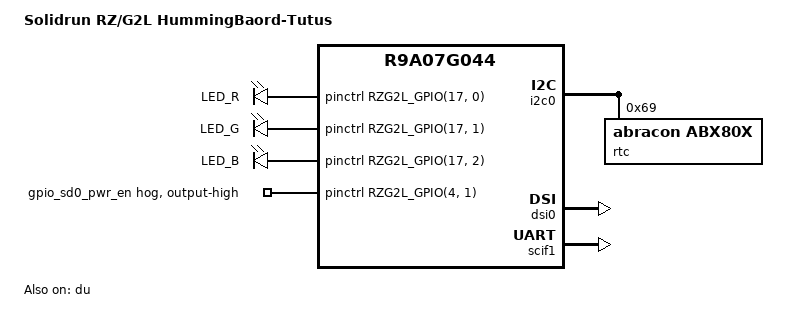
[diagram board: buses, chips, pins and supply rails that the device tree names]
// SPDX-License-Identifier: (GPL-2.0-only OR BSD-2-Clause)
/*
 * Device Tree Source for the RZ/G2LC Solidrun SOM
 *
 * Copyright (C) 2021 Renesas Electronics Corp.
 */

#include <dt-bindings/gpio/gpio.h>
#include <dt-bindings/pinctrl/rzg2l-pinctrl.h>

/*
 * DIP-Switch S3 setting on SoM
 * 1 : High; 0: Low
 * S3[1] : SW_SD0_DEV_SEL	(1: eMMC; 0: uSD)
 */

#define SW_SD0_DEV_SEL	1

/dts-v1/;
#include "rzg2l-sr-som.dtsi"
#include "rzg2l-sr-pinfunction.dtsi"

/ {
	model = "Solidrun RZ/G2L HummingBaord-Tutus";
	compatible = "renesas,r9a07g044l2", "renesas,r9a07g044";

	x1_clk: x1-clock {
		compatible = "fixed-clock";
		#clock-cells = <0>;
		clock-frequency = <24000000>;
	};

	leds {
		compatible = "gpio-leds";

		LED-R-hog {
			label = "LED_R";
			gpios = <&pinctrl RZG2L_GPIO(17, 0) GPIO_ACTIVE_HIGH>;
			default-state = "on";      
		};

		LED-G-hog {
			label = "LED_G";
			gpios = <&pinctrl RZG2L_GPIO(17, 1) GPIO_ACTIVE_HIGH>;
			default-state = "off";
		};

		LED-B-hog {
			label = "LED_B";
			gpios = <&pinctrl RZG2L_GPIO(17, 2) GPIO_ACTIVE_HIGH>;
			default-state = "off";
		};
	};

};

&pinctrl {
	gpio-sd0-pwr-en-hog {
		gpio-hog;
		gpios = <RZG2L_GPIO(4, 1) GPIO_ACTIVE_HIGH>;
		output-high;
		line-name = "gpio_sd0_pwr_en";
	};
};

&i2c0 {
	rtc@69 {
		compatible = "abracon,abx80x";
		reg = <0x69>;
		abracon,tc-diode = "schottky";
		abracon,tc-resistor = <3>;
	};
};

&dsi0 {
	status = "okay";
};

&du {
	status = "okay";
};

&scif1 {
	pinctrl-0 = <&scif1_pins>;
	pinctrl-names = "default";
	status = "okay";
};

&canfd {
	/delete-property/ pinctrl-0;
	/delete-property/ pinctrl-names;
	status = "disabled";
};

&spi1 {
	/delete-property/ pinctrl-0;
	/delete-property/ pinctrl-names;
	status = "disabled";
};
